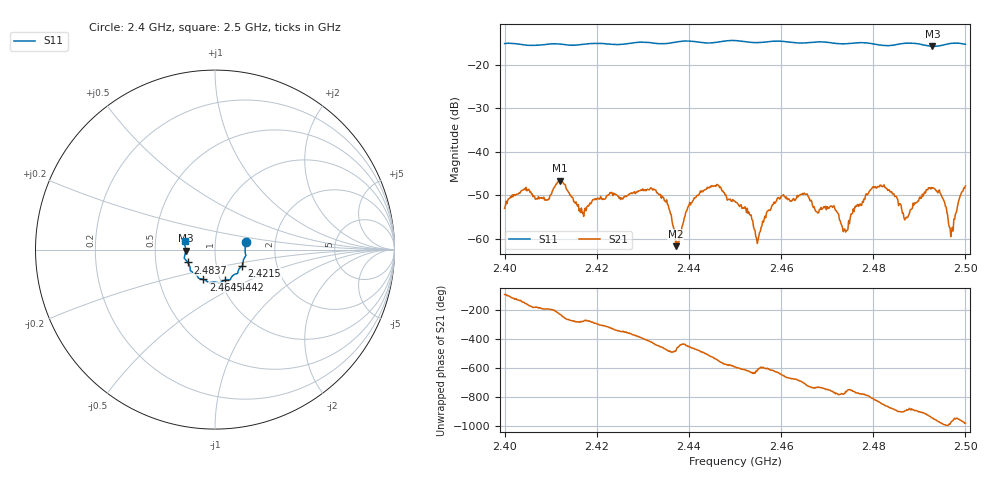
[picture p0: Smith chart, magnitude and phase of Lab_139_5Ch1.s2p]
# Hz S RI R 50
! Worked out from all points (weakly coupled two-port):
!   601 points, 2.4 GHz to 2.5 GHz, reference 50 ohm
!   highest |S21| = -46.67 dB at 2.412 GHz (marker M1); lowest = -61.8 dB at 2.4372 GHz (marker M2)
!   lowest |S11| = -15.7 dB at 2.4928 GHz (marker M3), VSWR 1.39, Z = 35.9 - j0.389 ohm
!   |S11| at or under -10 dB: start of sweep to end of sweep
!   S12 and S22 are empty: the file has one direction only
!   S11 on the Smith chart (normalised r, x): 2.4 GHz: 1.41, +0.12; 2.4215 GHz: 1.33, -0.25; 2.4442 GHz: 1.05, -0.37; 2.4645 GHz: 0.83, -0.29; 2.4837 GHz: 0.73, -0.11; 2.5 GHz: 0.71, +0.07
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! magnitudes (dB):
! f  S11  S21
! 2.4 GHz  -15.1  -53.0
! 2.412 GHz  -15.2  -46.7
! 2.4167 GHz  -15.3  -53.0
! 2.4215 GHz  -15.1  -51.0
! 2.4333 GHz  -15.1  -49.7
! 2.4372 GHz  -14.7  -61.8
! 2.4442 GHz  -15.0  -48.3
! 2.45 GHz  -14.4  -51.4
! 2.455 GHz  -14.9  -60.3
! 2.459 GHz  -14.5  -51.3
! 2.4645 GHz  -15.0  -49.8
! 2.4667 GHz  -14.8  -51.5
! 2.4713 GHz  -15.0  -52.6
! 2.474 GHz  -15.1  -58.5
! 2.4797 GHz  -15.1  -48.5
! 2.4833 GHz  -15.6  -48.8
! 2.4837 GHz  -15.5  -49.3
! 2.4872 GHz  -15.0  -55.1
! 2.4928 GHz  -15.7  -48.5
! 2.4948 GHz  -15.5  -50.2
! 2.4968 GHz  -15.1  -59.6
! 2.5 GHz  -15.3  -47.9
